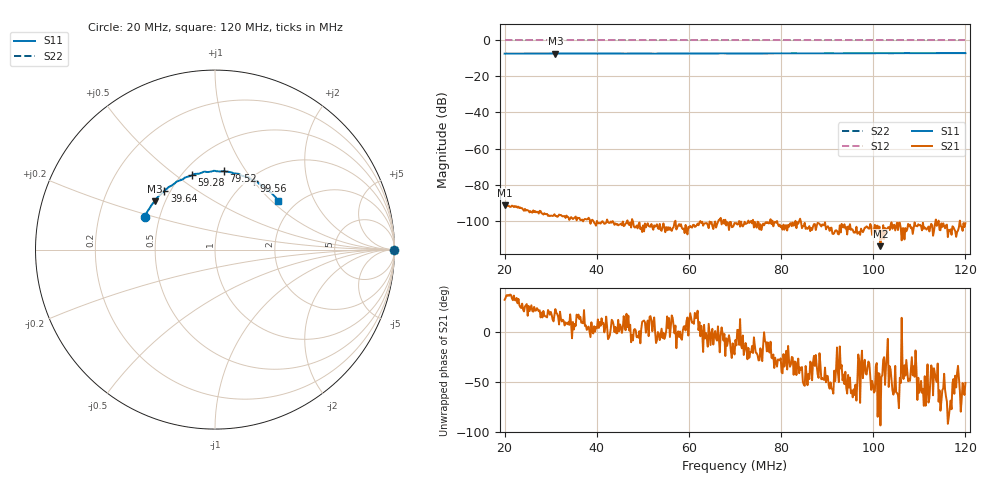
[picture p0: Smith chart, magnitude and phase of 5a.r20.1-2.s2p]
! Anritsu VNA Master:  Model: MS2036C/10/77
! SN:  1601066
! /card0/usr/18may27.balun/5a..r20.s2p
! Existing Calibration Information:
! TYPE:  Current Settings,  Active Cal Settings
! TIME:  05/27/2018 04:54:47 PM,  05/27/2018 04:42:15 PM
! INTERNAL TEMP:  53.3 C,  52.0 C
! # POINTS:  500,  500
! START FREQ:  20.000 MHz,  20.000 MHz
! STOP FREQ:  120.000 MHz,  120.000 MHz
! SOURCE POWER:  High,  High
! IFBW:  50 Hz,  50 Hz
! AVG FACTOR:  1 ,  1
! REF PLANE 1:  0 mm,  0 mm
! REF PLANE 2:  0 mm,  0 mm
! CAL TYPE:  Full S11,  Full S11
! CAL METHOD:  SOLT,  SOLT
! CAL LINE TYPE:  Coax,  Coax
! DUT PORT 1:  K-Conn(M),  K-Conn(M)
! DUT PORT 2:  K-Conn(M),  K-Conn(M)
! CAL STATUS:  OK: Accuracy High,  --
# GHZ S DB R 50.0
! FREQ.GHZ  S11DB  S11A  S21DB  S21A  S12DB  S12A  S22DB  S22A
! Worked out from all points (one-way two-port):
!   500 points, 20 MHz to 120 MHz, reference 50 ohm
!   highest |S21| = -91.46 dB at 20 MHz (marker M1); lowest = -114.2 dB at 101.6 MHz (marker M2)
!   lowest |S11| = -7.3 dB at 31.02 MHz (marker M3), VSWR 2.51, Z = 21.9 + j14.4 ohm
!   |S11| at or under -10 dB: nowhere
!   |S22| runs from 0.0 to 0.0 dB; largest |S21 - S12| = 1
!   S11 on the Smith chart (normalised r, x): 20 MHz: 0.41, +0.19; 39.64 MHz: 0.47, +0.37; 59.28 MHz: 0.56, +0.57; 79.52 MHz: 0.74, +0.80; 99.56 MHz: 1.06, +1.01; 120 MHz: 1.63, +1.10
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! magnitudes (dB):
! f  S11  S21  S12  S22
! 20 MHz  -7.3  -91.5  0.0  0.0
! 31.02 MHz  -7.3  -97.5  0.0  0.0
! 36.83 MHz  -7.3  -99.4  0.0  0.0
! 39.64 MHz  -7.3  -101.8  0.0  0.0
! 49.26 MHz  -7.2  -101.1  0.0  0.0
! 53.47 MHz  -7.3  -104.7  0.0  0.0
! 59.28 MHz  -7.3  -102.4  0.0  0.0
! 61.08 MHz  -7.2  -102.3  0.0  0.0
! 64.29 MHz  -7.3  -104.2  0.0  0.0
! 67.49 MHz  -7.2  -99.6  0.0  0.0
! 70.1 MHz  -7.3  -101.6  0.0  0.0
! 73.51 MHz  -7.1  -100.2  0.0  0.0
! 76.31 MHz  -7.2  -102.6  0.0  0.0
! 79.52 MHz  -7.1  -103.1  0.0  0.0
! 86.73 MHz  -7.2  -105.2  0.0  0.0
! 89.34 MHz  -7.1  -102.7  0.0  0.0
! 91.94 MHz  -7.2  -105.4  0.0  0.0
! 95.35 MHz  -7.0  -104.7  0.0  0.0
! 99.56 MHz  -7.1  -103.1  0.0  0.0
! 101.6 MHz  -7.0  -114.2  0.0  0.0
! 103.4 MHz  -7.1  -103.6  0.0  0.0
! 120 MHz  -7.0  -101.5  0.0  0.0
